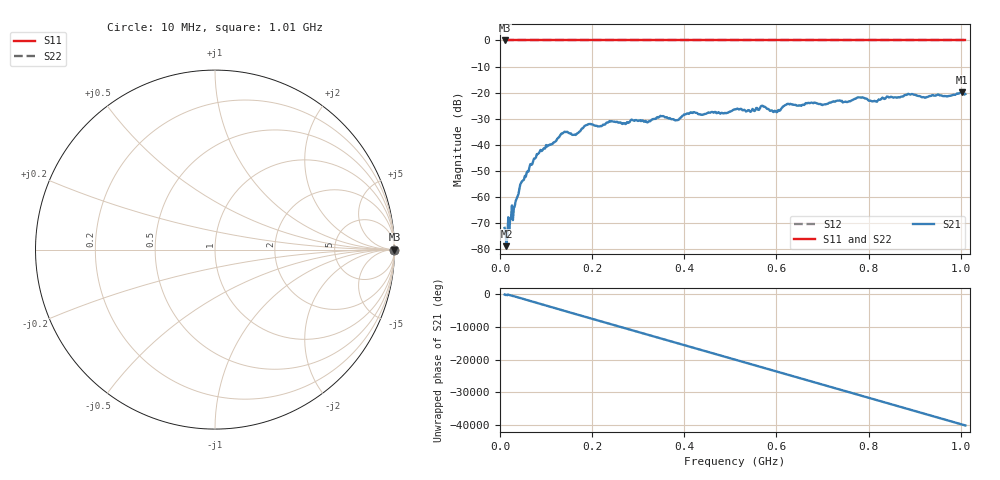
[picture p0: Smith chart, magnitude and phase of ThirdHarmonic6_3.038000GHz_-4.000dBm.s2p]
! 8/17/2025 8:47:19 AM
! C:\ANRITSUVNA\TEMP\TEMP.S2P
! CHANNEL.1
! TR.MEASUREMENT
! RAW.DATA
! RF.CORRECTION.OFF
! AVERAGING.OFF
! IF.BANDWIDTH: 5KHZ
! SWEEPTYPE:  FREQ.SWEEP(Linear)
! Reference Plane Port Info
! PORT:  PORT1  PORT2
! DISTANCE:  0  m  0  m
! TIME:  0  s  0  s
! PHASE.OFFSET:  0  deg.  0  deg.
! LOSS:  0  dB  0  dB
! REF.LOSS:  0  dB  0  dB
! REF.FREQ:  0  Hz  0  Hz
! Power Info
! POWER:  -20  dBm  -20  dBm
! EFF.POWER:  -20  dBm  -20  dBm
! SOURCE.ATTEN:  0  dB  0  dB
! TEST.ATTEN:  0  dB  0  dB
# GHZ S RI R 50.0
! FREQ.GHZ  S11RE  S11IM  S21RE  S21IM  S12RE  S12IM  S22RE  S22IM
!; PortSelection: Port_12
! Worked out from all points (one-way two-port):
!   501 points, 10 MHz to 1.01 GHz, reference 50 ohm
!   highest |S21| = -19.91 dB at 1.002 GHz (marker M1); lowest = -78.9 dB at 14 MHz (marker M2)
!   lowest |S11| = 0.0 dB at 10 MHz (marker M3)
!   |S11| at or under -10 dB: nowhere
!   |S22| runs from 0.0 to 0.0 dB; largest |S21 - S12| = 1.1
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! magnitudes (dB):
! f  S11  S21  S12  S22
! 10 MHz  0.0  -71.9  0.0  0.0
! 14 MHz  0.0  -78.9  0.0  0.0
! 18 MHz  0.0  -67.8  0.0  0.0
! 22 MHz  0.0  -68.9  0.0  0.0
! 46 MHz  0.0  -54.6  0.0  0.0
! 84 MHz  0.0  -43.3  0.0  0.0
! 136 MHz  0.0  -35.6  0.0  0.0
! 162 MHz  0.0  -36.1  0.0  0.0
! 178 MHz  0.0  -33.8  0.0  0.0
! 194 MHz  0.0  -32.0  0.0  0.0
! 322 MHz  0.0  -31.2  0.0  0.0
! 344 MHz  0.0  -29.6  0.0  0.0
! 384 MHz  0.0  -30.6  0.0  0.0
! 416 MHz  0.0  -27.7  0.0  0.0
! 510 MHz  0.0  -26.4  0.0  0.0
! 570 MHz  0.0  -25.1  0.0  0.0
! 598 MHz  0.0  -27.1  0.0  0.0
! 622 MHz  0.0  -24.5  0.0  0.0
! 678 MHz  0.0  -23.9  0.0  0.0
! 844 MHz  0.0  -21.9  0.0  0.0
! 1.002 GHz  0.0  -19.9  0.0  0.0
! 1.01 GHz  0.0  -20.5  0.0  0.0
